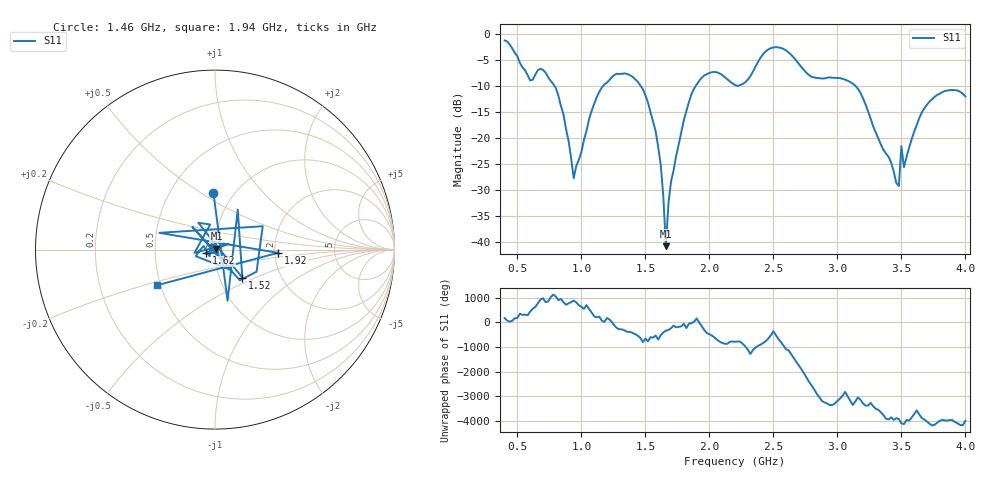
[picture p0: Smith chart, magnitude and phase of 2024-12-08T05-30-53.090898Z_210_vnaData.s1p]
!Created with skrf (http://scikit-rf.org).
# Hz S RI R 50.0
!freq ReS11 ImS11
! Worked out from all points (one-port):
!   181 points, 400 MHz to 4 GHz, reference 50 ohm
!   lowest |S11| = -40.8 dB at 1.66 GHz (marker M1), VSWR 1.02, Z = 50.8 + j0.438 ohm
!   |S11| at or under -10 dB: 788.3 MHz to 1.171 GHz (383 MHz wide, 39.1 % of centre); 1.461 GHz to 1.895 GHz (433.6 MHz wide, 25.8 % of centre); 3.14 GHz to end of sweep (the widest 3 of 4)
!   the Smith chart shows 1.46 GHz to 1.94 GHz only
!   S11 on the Smith chart (normalised r, x): 1.46 GHz: 0.80, +0.57; 1.52 GHz: 1.28, -0.42; 1.62 GHz: 0.90, -0.04; 1.92 GHz: 2.08, -0.09; 1.94 GHz: 0.48, -0.22
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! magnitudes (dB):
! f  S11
! 400 MHz  -1.3
! 600 MHz  -9.0
! 720 MHz  -7.5
! 860 MHz  -15.5
! 940 MHz  -27.8
! 1.12 GHz  -12.2
! 1.3 GHz  -7.8
! 1.46 GHz  -10.0
! 1.52 GHz  -13.2
! 1.62 GHz  -25.2
! 1.66 GHz  -40.8
! 1.7 GHz  -28.4
! 1.76 GHz  -21.3
! 1.84 GHz  -13.2
! 1.92 GHz  -9.1
! 1.94 GHz  -8.5
! 2.2 GHz  -9.9
! 2.48 GHz  -2.8
! 2.66 GHz  -4.6
! 2.8 GHz  -8.3
! 3.1 GHz  -9.3
! 3.2 GHz  -12.4
! 3.48 GHz  -29.3
! 3.5 GHz  -21.6
! 3.52 GHz  -25.7
! 3.56 GHz  -21.9
! 3.76 GHz  -12.1
! 4 GHz  -12.1
